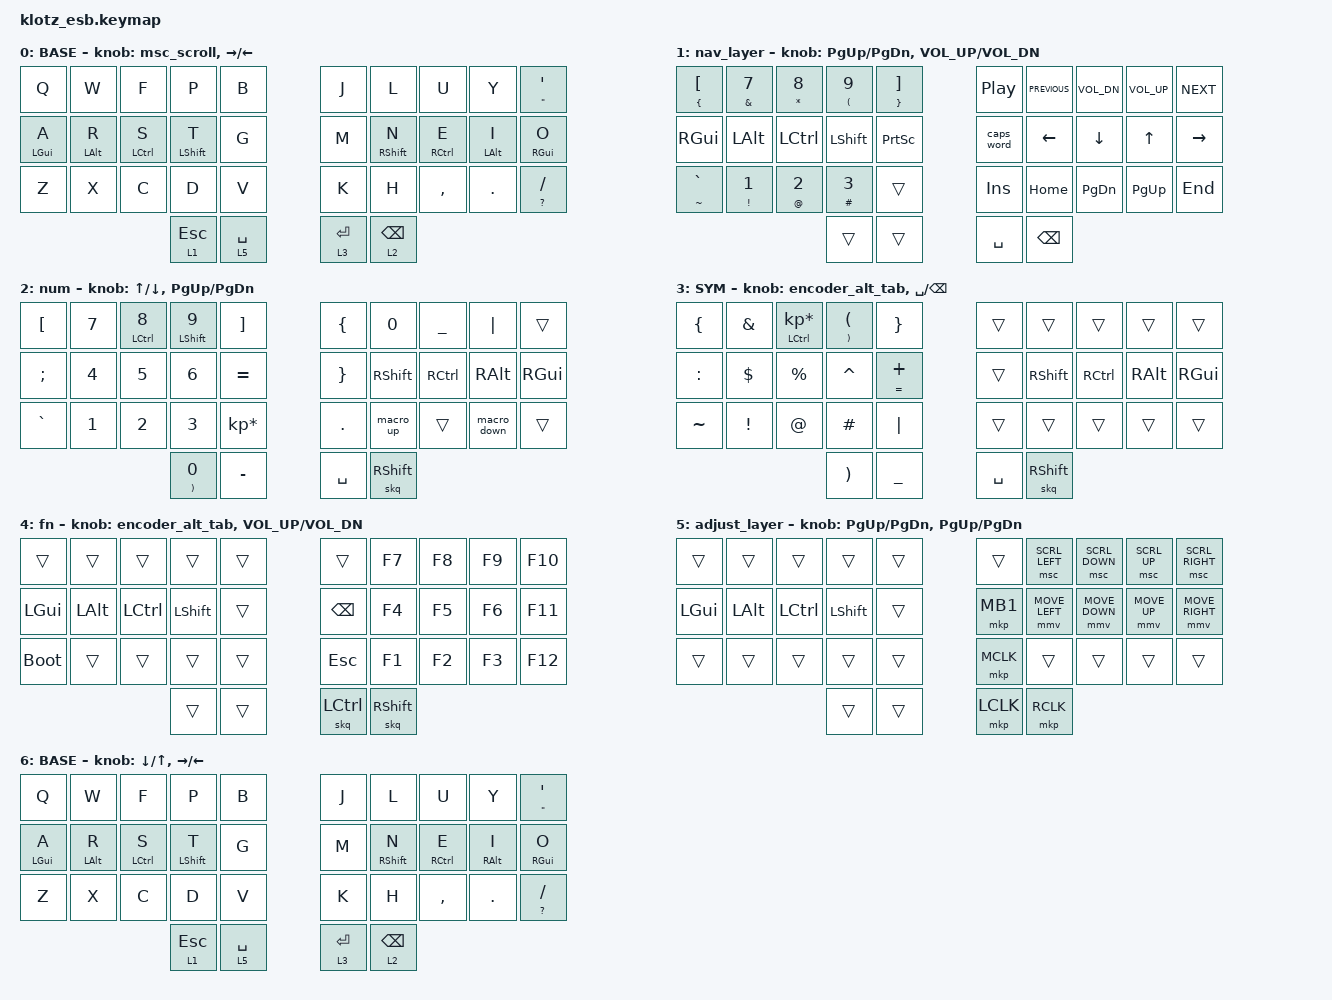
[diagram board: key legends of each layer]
#include <behaviors.dtsi>
#include <dt-bindings/zmk/keys.h>
#include <dt-bindings/zmk/pointing.h>

#define ZMK_POINTING_DEFAULT_MOVE_VAL 2000
#define ZMK_POINTING_DEFAULT_SCRL_VAL 30
#define ZMK_MOUSE_SCRL_VAL 120
#define BASE 0
#define NAV  1
#define SYM  2
#define ADJ  3
#define JMP  4
#define OSL  5
#define COMBOMS 25

&lt {
    flavor = "tap-preferred";
    tapping-term-ms = <200>;
    hold-trigger-key-positions = <>;
};

/ {
    combos {
        compatible = "zmk,combos";

        combo_esc {
            timeout-ms = <COMBOMS>;
            key-positions = <0 1>;
            bindings = <&kp ESC>;
            layers = <0>;
        };

        combo_spc_2 {
            timeout-ms = <COMBOMS>;
            key-positions = <13 14>;
            bindings = <&kp SPACE>;
        };

        combo_bspc {
            timeout-ms = <COMBOMS>;
            key-positions = <15 16>;
            bindings = <&kp BSPC>;
        };

        combo_del {
            timeout-ms = <COMBOMS>;
            key-positions = <6 7>;
            bindings = <&kp DEL>;
        };

        combo_ret {
            timeout-ms = <COMBOMS>;
            key-positions = <25 26>;
            bindings = <&kp RET>;
        };

        combo_ctrlz {
            timeout-ms = <COMBOMS>;
            key-positions = <20 21>;
            bindings = <&macro_ctrlz>;
        };

        combo_ctrlshftz {
            timeout-ms = <COMBOMS>;
            key-positions = <20 21 22>;
            bindings = <&macro_ctrlshftz>;
        };

        combo_ctrlx {
            timeout-ms = <COMBOMS>;
            key-positions = <21 22>;
            bindings = <&macro_ctrlx>;
        };

        combo_ctrlc {
            timeout-ms = <COMBOMS>;
            key-positions = <22 23>;
            bindings = <&macro_ctrlc>;
        };

        combo_ctrlv {
            timeout-ms = <COMBOMS>;
            key-positions = <23 24>;
            bindings = <&macro_ctrlv>;
        };

        combo_fn {
            timeout-ms = <COMBOMS>;
            key-positions = <30 31>;
            bindings = <&mo 4>;
        };

        tab {
            bindings = <&kp TAB>;
            key-positions = <2 3>;
        };

        tab_app {
            bindings = <&tabcw>;
            key-positions = <1 2>;
            timeout-ms = <COMBOMS>;
        };

        TO_ARROWS {
            bindings = <&tog 6>;
            key-positions = <1 2 3 0>;
        };

        backspace_auto {
            bindings = <&skq BACKSPACE>;
            key-positions = <5 6>;
            timeout-ms = <COMBOMS>;
        };
    };

    macros {
        macro_esc: macro_esc {
            compatible = "zmk,behavior-macro";
            #binding-cells = <0>;
            bindings = <&to 0 &kp ESC>;
        };

        tabcw: tabcw {
            compatible = "zmk,behavior-macro";
            #binding-cells = <0>;
            bindings = <&macro_tap>, <&kp TAB>;
        };

        tabccw: tabccw {
            compatible = "zmk,behavior-macro";
            #binding-cells = <0>;
            bindings =
                <&macro_press>,
                <&kp LCTRL>,
                <&macro_tap>,
                <&kp TAB>,
                <&macro_release>,
                <&kp LCTRL>;
        };

        macro_ctrlz: macro_ctrlz {
            compatible = "zmk,behavior-macro";
            #binding-cells = <0>;
            bindings =
                <&macro_press>,
                <&kp LCTRL>,
                <&macro_tap>,
                <&kp Z>,
                <&macro_release>,
                <&kp LCTRL>;
        };

        macro_ctrlshftz: macro_ctrlshftz {
            compatible = "zmk,behavior-macro";
            #binding-cells = <0>;
            bindings =
                <&macro_press>,
                <&kp LCTRL>,
                <&macro_press>,
                <&kp LSHFT>,
                <&macro_tap>,
                <&kp Z>,
                <&macro_release>,
                <&kp LCTRL>,
                <&macro_release>,
                <&kp LSHFT>;
        };

        macro_ctrlx: macro_ctrlx {
            compatible = "zmk,behavior-macro";
            #binding-cells = <0>;
            bindings =
                <&macro_press>,
                <&kp LCTRL>,
                <&macro_tap>,
                <&kp X>,
                <&macro_release>,
                <&kp LCTRL>;
        };

        macro_ctrlc: macro_ctrlc {
            compatible = "zmk,behavior-macro";
            #binding-cells = <0>;
            bindings =
                <&macro_press>,
                <&kp LCTRL>,
                <&macro_tap>,
                <&kp C>,
                <&macro_release>,
                <&kp LCTRL>;
        };

        macro_ctrlv: macro_ctrlv {
            compatible = "zmk,behavior-macro";
            #binding-cells = <0>;
            bindings =
                <&macro_press>,
                <&kp LCTRL>,
                <&macro_tap>,
                <&kp V>,
                <&macro_release>,
                <&kp LCTRL>;
        };

        macro_ctrls: macro_ctrls {
            compatible = "zmk,behavior-macro";
            #binding-cells = <0>;
            bindings =
                <&macro_press>,
                <&kp LCTRL>,
                <&macro_tap>,
                <&kp S>,
                <&macro_release>,
                <&kp LCTRL>;
        };

        macro_up: macro_up {
            compatible = "zmk,behavior-macro";
            #binding-cells = <0>;
            bindings =
                <&macro_press>,
                <&kp LCTRL>,
                <&macro_tap>,
                <&kp U>,
                <&macro_release>,
                <&kp LCTRL>;
        };

        macro_down: macro_down {
            compatible = "zmk,behavior-macro";
            #binding-cells = <0>;
            bindings =
                <&macro_press>,
                <&kp LCTRL>,
                <&macro_tap>,
                <&kp D>,
                <&macro_release>,
                <&kp LCTRL>;
        };

        os_hk: os_hk {
            compatible = "zmk,behavior-macro-one-param";
            #binding-cells = <1>;
            bindings =
                <&macro_press>,
                <&kp LALT>,
                <&macro_press>,
                <&kp LGUI>,
                <&macro_press>,
                <&kp LSHFT &macro_param_1to1>,
                <&macro_tap>,
                <&kp MACRO_PLACEHOLDER>,
                <&macro_release>,
                <&kp LALT>,
                <&macro_release>,
                <&kp LGUI>,
                <&macro_release>,
                <&kp LSHFT>;
        };

        m_set: m_set {
            compatible = "zmk,behavior-macro-one-param";
            #binding-cells = <1>;
            bindings =
                <&macro_tap>,
                <&kp M>,
                <&macro_press>,
                <&kp LSHFT &macro_param_1to1>,
                <&macro_tap>,
                <&kp MACRO_PLACEHOLDER>,
                <&macro_release>,
                <&kp LSHFT>;
        };

        m_jmp: m_jmp {
            compatible = "zmk,behavior-macro-one-param";
            #binding-cells = <1>;
            bindings =
                <&macro_tap>,
                <&kp GRAVE>,
                <&macro_press>,
                <&kp LSHFT &macro_param_1to1>,
                <&macro_tap>,
                <&kp MACRO_PLACEHOLDER>,
                <&macro_release>,
                <&kp LSHFT>;
        };

        m_paste: m_paste {
            compatible = "zmk,behavior-macro-one-param";
            #binding-cells = <1>;
            bindings =
                <&macro_tap>,
                <&kp DQT &macro_param_1to1>,
                <&macro_tap>,
                <&kp MACRO_PLACEHOLDER>,
                <&macro_tap>,
                <&kp P>;
        };

        m_dkp: m_dkp {
            compatible = "zmk,behavior-macro-two-param";
            #binding-cells = <2>;
            bindings =
                <&macro_param_1to1>,
                <&macro_tap>,
                <&kp MACRO_PLACEHOLDER &macro_param_2to1>,
                <&macro_tap>,
                <&kp MACRO_PLACEHOLDER>;
        };
    };

    behaviors {
        encoder_alt_tab: encoder_alt_tab {
            compatible = "zmk,behavior-sensor-rotate";
            #sensor-binding-cells = <0>;
            bindings = <&tabcw>, <&tabccw>;
        };

        hml: hml {
            compatible = "zmk,behavior-hold-tap";
            #binding-cells = <2>;
            flavor = "tap-preferred";
            bindings = <&kp>, <&kp>;

            tapping-term-ms = <200>;
        };

        ctl: custom_tap_layer {
            compatible = "zmk,behavior-hold-tap";
            #binding-cells = <2>;
            flavor = "tap-preferred";
            bindings = <&mo>, <&kp>;

            tapping-term-ms = <220>;
            quick-tap-ms = <175>;
        };

        htl: hold_toggle_layer {
            compatible = "zmk,behavior-hold-tap";
            #binding-cells = <2>;
            flavor = "balanced";
            bindings = <&mo>, <&tog>;

            tapping-term-ms = <220>;
        };

        csl: custom_sticky_layer {
            compatible = "zmk,behavior-sticky-key";
            #binding-cells = <1>;
            bindings = <&mo>;
            release-after-ms = <2000>;
            quick-release;
            ignore-modifiers;
        };

        skq: sticky_key_quick_release {
            compatible = "zmk,behavior-sticky-key";
            #binding-cells = <1>;
            bindings = <&kp>;
            release-after-ms = <2000>;
            quick-release;
            ignore-modifiers;
        };

        hmr: hmr {
            compatible = "zmk,behavior-hold-tap";
            #binding-cells = <2>;
            flavor = "tap-preferred";
            bindings = <&kp>, <&kp>;

            tapping-term-ms = <200>;
            label = "HMR";
        };

        msc_scroll: msc_scroll {
            compatible = "zmk,behavior-sensor-rotate";
            label = "MSC_SCROLL";
            #sensor-binding-cells = <0>;
            bindings = <&msc SCRL_UP>, <&msc SCRL_DOWN>;

            tap-ms = <120>;
        };
    };

    keymap {
        compatible = "zmk,keymap";

        base_layer {
            display-name = "BASE";

            bindings = <
&kp Q            &kp W            &kp F         &kp P              &kp B        &kp J        &kp L               &kp U         &kp Y            &hmr DOUBLE_QUOTES SINGLE_QUOTE
&hml LEFT_GUI A  &hml LEFT_ALT R  &hml LCTRL S  &hml LEFT_SHIFT T  &kp G        &kp M        &hmr RIGHT_SHIFT N  &hmr RCTRL E  &hmr LEFT_ALT I  &hmr RIGHT_GUI O
&kp Z            &kp X            &kp C         &kp D              &kp V        &kp K        &kp H               &kp COMMA     &kp PERIOD       &hmr QUESTION SLASH
                                                &lt 1 ESCAPE       &lt 5 SPACE  &lt 3 ENTER  &lt 2 BACKSPACE
            >;

            sensor-bindings = <&msc_scroll>, <&inc_dec_kp RIGHT LEFT>;
        };

        nav_layer {
            bindings = <
&hml LEFT_BRACE LEFT_BRACKET  &hml AMPERSAND N7          &hml ASTRK N8          &hml LEFT_PARENTHESIS N9  &hml RIGHT_BRACE RIGHT_BRACKET  &kp C_PLAY_PAUSE  &kp C_PREVIOUS  &kp C_VOL_DN    &kp C_VOLUME_UP  &kp C_NEXT
&kp RGUI                      &kp LALT                   &kp LCTRL              &kp LSHFT                 &kp PRINTSCREEN                 &caps_word        &kp LEFT_ARROW  &kp DOWN_ARROW  &kp UP_ARROW     &kp RIGHT_ARROW
&hml TILDE GRAVE              &hml EXCLAMATION NUMBER_1  &hml AT_SIGN NUMBER_2  &hml HASH NUMBER_3        &trans                          &kp INSERT        &kp HOME        &kp PAGE_DOWN   &kp PG_UP        &kp END
                                                                                &trans                    &trans                          &kp SPACE         &kp BACKSPACE
            >;

            sensor-bindings =
                <&inc_dec_kp PG_UP PAGE_DOWN>,
                <&inc_dec_kp C_VOLUME_UP C_VOL_DN>;
        };

        num_layer {
            display-name = "num";

            bindings = <
&kp LBKT       &kp N7  &hml LCTRL N8  &hml LSHFT N9                    &kp RBKT         &kp LBRC   &kp NUMBER_0     &kp UNDER  &kp PIPE       &trans
&kp SEMICOLON  &kp N4  &kp N5         &kp N6                           &kp EQUAL        &kp RBRC   &kp RIGHT_SHIFT  &kp RCTRL  &kp RIGHT_ALT  &kp RIGHT_GUI
&kp GRAVE      &kp N1  &kp N2         &kp N3                           &kp KP_MULTIPLY  &kp DOT    &macro_up        &trans     &macro_down    &trans
                                      &hml RIGHT_PARENTHESIS NUMBER_0  &kp MINUS        &kp SPACE  &skq RSHFT
            >;

            sensor-bindings =
                <&inc_dec_kp UP_ARROW DOWN_ARROW>,
                <&inc_dec_kp PG_UP PG_DN>;
        };

        sim_layer {
            display-name = "SYM";

            bindings = <
&kp LEFT_BRACE  &kp AMPERSAND  &hml LCTRL KP_MULTIPLY  &hml RIGHT_PARENTHESIS LEFT_PARENTHESIS  &kp RIGHT_BRACE  &trans     &trans           &trans     &trans         &trans
&kp COLON       &kp DLLR       &kp PRCNT               &kp CARET                                &hml EQUAL PLUS  &trans     &kp RIGHT_SHIFT  &kp RCTRL  &kp RIGHT_ALT  &kp RIGHT_GUI
&kp TILDE       &kp EXCL       &kp AT                  &kp HASH                                 &kp PIPE         &trans     &trans           &trans     &trans         &trans
                                                       &kp RIGHT_PARENTHESIS                    &kp UNDER        &kp SPACE  &skq RSHFT
            >;

            sensor-bindings = <&encoder_alt_tab>, <&inc_dec_kp SPACE BACKSPACE>;
        };

        fn_layer {
            display-name = "fn";

            bindings = <
&trans        &trans        &trans     &trans          &trans  &trans      &kp F7      &kp F8  &kp F9  &kp F10
&kp LEFT_GUI  &kp LEFT_ALT  &kp LCTRL  &kp LEFT_SHIFT  &trans  &kp BSPC    &kp F4      &kp F5  &kp F6  &kp F11
&bootloader   &trans        &trans     &trans          &trans  &kp ESC     &kp F1      &kp F2  &kp F3  &kp F12
                                       &trans          &trans  &skq LCTRL  &skq RSHFT
            >;

            sensor-bindings = <&encoder_alt_tab &inc_dec_kp C_VOL_UP C_VOL_DN>;
        };

        adjust_layer {
            bindings = <
&trans        &trans        &trans        &trans        &trans          &trans     &msc SCRL_LEFT  &msc SCRL_DOWN  &msc SCRL_UP  &msc SCRL_RIGHT
&kp LGUI      &kp LALT      &kp LCTRL     &kp LSHFT     &trans          &mkp MB1   &mmv MOVE_LEFT  &mmv MOVE_DOWN  &mmv MOVE_UP  &mmv MOVE_RIGHT
&trans        &trans        &trans        &trans        &trans          &mkp MCLK  &trans          &trans          &trans        &trans
                                          &trans        &trans          &mkp LCLK  &mkp RCLK
            >;

            sensor-bindings =
                <&inc_dec_kp PG_UP PAGE_DOWN>,
                <&inc_dec_kp PAGE_UP PAGE_DOWN>;
        };

        Base_arrows {
            display-name = "BASE";
            bindings = <
&kp Q            &kp W            &kp F         &kp P              &kp B        &kp J        &kp L               &kp U         &kp Y             &hmr DOUBLE_QUOTES SINGLE_QUOTE
&hml LEFT_GUI A  &hml LEFT_ALT R  &hml LCTRL S  &hml LEFT_SHIFT T  &kp G        &kp M        &hmr RIGHT_SHIFT N  &hmr RCTRL E  &hmr RIGHT_ALT I  &hmr RIGHT_GUI O
&kp Z            &kp X            &kp C         &kp D              &kp V        &kp K        &kp H               &kp COMMA     &kp PERIOD        &hmr QUESTION SLASH
                                                &lt 1 ESCAPE       &lt 5 SPACE  &lt 3 ENTER  &lt 2 BACKSPACE
            >;

            sensor-bindings =
                <&inc_dec_kp DOWN_ARROW UP_ARROW>,
                <&inc_dec_kp RIGHT_ARROW LEFT_ARROW>;
        };
    };
};
